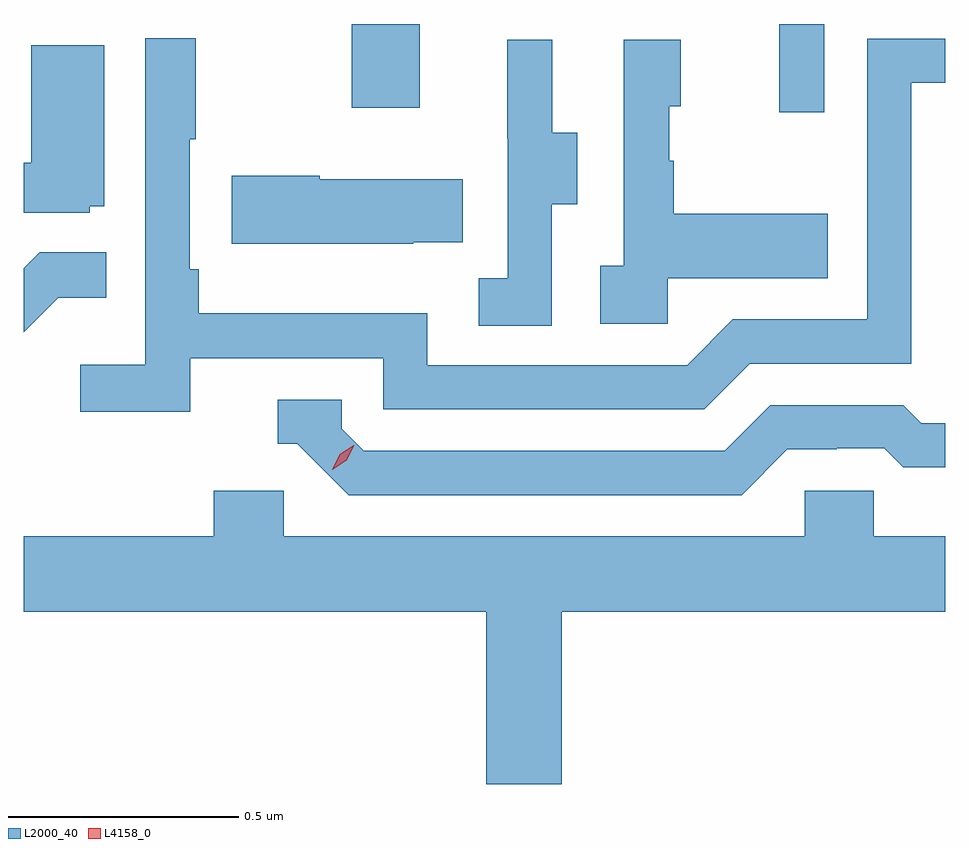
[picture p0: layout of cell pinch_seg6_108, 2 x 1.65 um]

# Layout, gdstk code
import gdstk
lib = gdstk.Library(unit=1e-6, precision=1e-09)
def R(c, l, rs):  # rectangles x0, y0, x1, y1
    for r in rs: c.add(gdstk.rectangle(r[:2], r[2:], *l))
def P(c, l, *ps):  # polygons
    for p in ps: c.add(gdstk.Polygon(p, *l))
L2000_40 = (2000, 40)
L4158_0 = (4158, 0)

pinch_seg6_108 = lib.new_cell('pinch_seg6_108')
R(pinch_seg6_108, L2000_40, [(896.912,923.112,897.009,923.303), (895.984,923.121,896.131,923.303)])
P(pinch_seg6_108, L2000_40, [(895.634,922.578),(896.052,922.578),(896.052,922.467),(896.749,922.467),(896.848,922.566),(897.198,922.566),(897.198,923.175),(897.272,923.175),(897.272,923.271),(897.102,923.271),(897.102,922.662),(896.811,922.662),(896.712,922.563),(896.148,922.563),(896.148,922.675),(895.652,922.675),(895.652,922.771),(895.632,922.771),(895.632,923.053),(895.645,923.053),(895.645,923.272),(895.536,923.272),(895.536,922.564),(895.395,922.564),(895.395,922.462),(895.634,922.462)],
  [(896.67,922.751),(897.017,922.751),(897.017,922.891),(896.683,922.891),(896.683,923.006),(896.673,923.006),(896.673,923.124),(896.698,923.124),(896.698,923.269),(896.574,923.269),(896.574,922.778),(896.523,922.778),(896.523,922.653),(896.67,922.653)],
  [(896.418,922.912),(896.473,922.912),(896.473,923.067),(896.419,923.067),(896.419,923.269),(896.321,923.269),(896.321,923.055),(896.322,923.055),(896.322,922.751),(896.259,922.751),(896.259,922.648),(896.418,922.648)],
  [(895.416,922.908),(895.447,922.908),(895.447,923.257),(895.289,923.257),(895.289,923.002),(895.272,923.002),(895.272,922.893),(895.416,922.893)],
  [(896.117,922.829),(896.225,922.829),(896.225,922.966),(895.915,922.966),(895.915,922.974),(895.724,922.974),(895.724,922.826),(896.117,922.826)],
  [(895.347,922.709),(895.451,922.709),(895.451,922.808),(895.307,922.808),(895.272,922.773),(895.272,922.634)],
  [(896.929,922.38),(897.036,922.38),(897.036,922.383),(897.139,922.383),(897.181,922.341),(897.272,922.341),(897.272,922.437),(897.22,922.437),(897.181,922.476),(896.892,922.476),(896.793,922.377),(896.01,922.377),(895.962,922.425),(895.962,922.488),(895.823,922.488),(895.823,922.392),(895.866,922.392),(895.977,922.281),(896.83,922.281)],
  [(896.44,922.028),(897.272,922.028),(897.272,922.192),(897.117,922.192),(897.117,922.29),(896.967,922.29),(896.967,922.192),(895.836,922.192),(895.836,922.29),(895.685,922.29),(895.685,922.192),(895.272,922.192),(895.272,922.028),(896.276,922.028),(896.276,921.654),(896.44,921.654)])
P(pinch_seg6_108, L4158_0, [(895.942,922.336),(895.942,922.336),(895.958,922.369),(895.988,922.389),(895.989,922.389),(895.989,922.389),(895.973,922.356),(895.942,922.336)])

lib.write_gds('pinch_seg6_108.gds')
